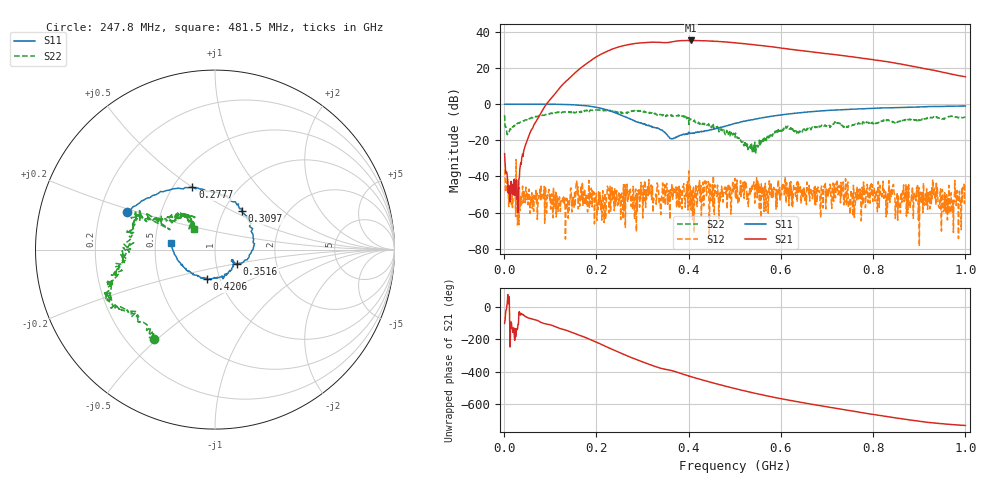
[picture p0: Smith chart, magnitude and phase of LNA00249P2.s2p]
! Created with skrf 1.9.0 (http://scikit-rf.org).
# Hz S RI R 50.0
!freq ReS11 ImS11 ReS21 ImS21 ReS12 ImS12 ReS22 ImS22
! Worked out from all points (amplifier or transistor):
!   1001 points, 1 MHz to 1 GHz, reference 50 ohm
!   highest |S21| = 35.3 dB at 404.6 MHz (marker M1)
!   |S21| within 3 dB of that: 257 MHz to 563.2 MHz (306.1 MHz wide, 74.6 % of centre)
!   unconditionally stable (mu >= 1): start of sweep to 86.71 MHz; 313.7 MHz to 400.3 MHz; 400.9 MHz to end of sweep (the widest 3 of 26)
!   at 166.8 MHz: K = 0.20, MSG = 32.7 dB, |S12| = -45.2 dB
!   at 500.5 MHz: K = 1.21, MAG = 34.8 dB, |S12| = -41.1 dB
!   at 1 GHz: K = 2.24, MAG = 23.6 dB, |S12| = -44.6 dB
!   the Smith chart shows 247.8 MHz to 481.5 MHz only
!   S11 on the Smith chart (normalised r, x): 247.8 MHz: 0.32, +0.18; 277.7 MHz: 0.62, +0.50; 309.7 MHz: 1.22, +0.56; 351.6 MHz: 1.26, -0.21; 420.6 MHz: 0.87, -0.29; 481.5 MHz: 0.60, +0.05
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1000000  0.9935 0.00279  -0.00829 -0.0419  -0.0157 0.00175  0.3592 0.3383
1.07893e8  0.5211 -0.847  -0.8341 -1.587  0.000207 -0.00181  0.4266 -0.3846
1.67833e8  -0.2469 -0.8903  -10.5 -0.2442  -0.00178 -0.00146  0.0252 -0.6159
2.11789e8  -0.6809 -0.3347  -15.18 19.55  -0.000597 -0.000148  -0.2041 -0.6518
2.47753e8  -0.4902 0.2071  5.372 37.82  5.9e-05 0.00173  -0.3387 -0.4981
2.77723e8  -0.1263 0.3473  32.39 33.5  0.000813 0.00306  -0.5613 -0.32
3.09691e8  0.1519 0.2141  50.38 9.523  -0.00438 -9.88e-05  -0.5849 -0.1836
3.34666e8  0.2115 -0.000586  50.06 -12.21  0.00176 0.00404  -0.5047 -0.0722
3.51649e8  0.1233 -0.0821  45.19 -22.17  0.00144 0.00551  -0.4905 0.0136
3.75625e8  0.1044 -0.0712  40.92 -38.48  -0.00328 0.00366  -0.451 0.164
4.04596e8  0.0341 -0.1519  20.21 -54.33  -0.00226 0.00309  -0.3327 0.1795
4.2058e8  -0.0469 -0.1622  6.925 -57.05  0.00395 0.00368  -0.245 0.1538
4.46554e8  -0.16 -0.1143  -13.17 -54.45  0.00272 0.00548  -0.1824 0.1874
4.81519e8  -0.2478 0.0371  -33.67 -40.18  0.00488 0.001  -0.1143 0.1131
5.005e8  -0.2617 0.1386  -40.43 -29.69  0.00282 0.0083  -0.0758 0.0923
5.39461e8  -0.177 0.3294  -43.78 -7.916  0.00531 -0.00272  -0.0562 0.00511
5.84416e8  0.0078 0.4744  -36.53 11.14  0.00326 -0.00375  -0.1392 -0.056
6.67333e8  0.3929 0.4801  -13.57 24.17  0.0023 -0.0012  -0.22 -0.0291
7.53247e8  0.6674 0.2777  4.046 20.07  0.00296 0.000435  -0.2505 0.0171
8.34166e8  0.7879 0.0191  10.93 9.822  -0.00695 0.0031  -0.3543 -0.00835
9.13087e8  0.8119 -0.2531  9.397 1.647  0.00177 0.00134  -0.3679 0.1413
1e9  0.7271 -0.5152  5.635 -1.109  -0.00562 0.00178  -0.3244 0.2825
